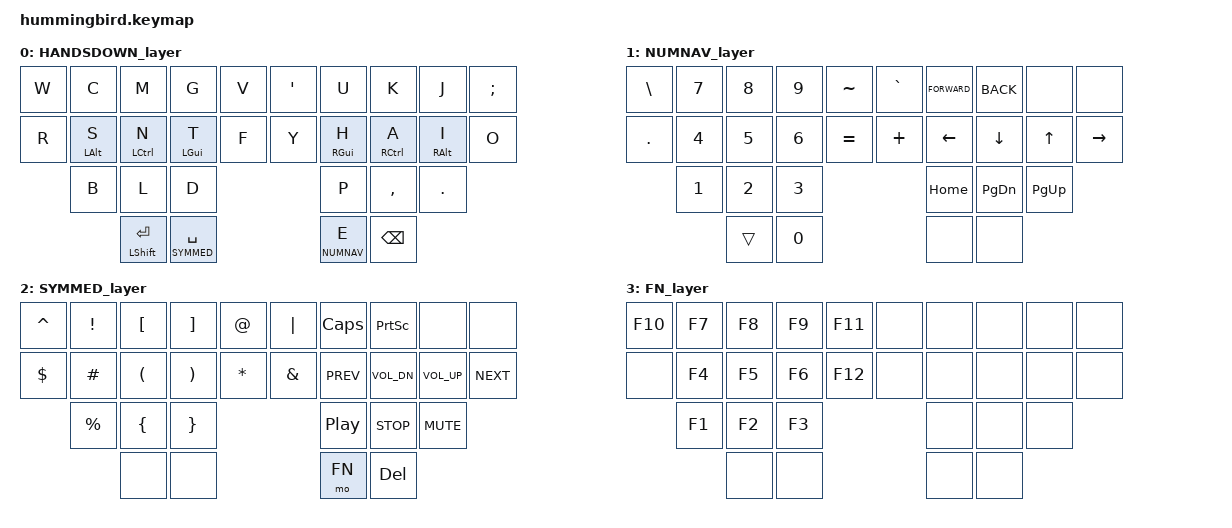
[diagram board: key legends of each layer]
/*
 * Copyright (c) 2020 The ZMK Contributors
 *
 * SPDX-License-Identifier: MIT
 */

#include <behaviors.dtsi>
#include <dt-bindings/zmk/keys.h>

#define HANDSDOWN 0
#define NUMNAV 1
#define SYMMED 2
#define FN 3

/ {
    behaviors {
        hm: homerow_mods {
            compatible = "zmk,behavior-hold-tap";
            label = "homerow mods";
            #binding-cells = <2>;
            tapping_term_ms = <150>;
            flavor = "tap-preferred";
            bindings = <&kp>, <&kp>;
        };
    };
};

/ {
    keymap {
        compatible = "zmk,keymap";

        HANDSDOWN_layer {
            bindings = <
                &kp W &kp C      &kp M           &kp G          &kp V      &kp SQT &kp U        &kp K       &kp J      &kp SEMI
                &kp R &hm LALT S &hm LCTRL N     &hm LGUI T     &kp F      &kp Y   &hm RGUI H   &hm RCTRL A &hm RALT I &kp O
                      &kp B      &kp L           &kp D                             &kp P        &kp COMMA   &kp DOT
                                 &mt LSHFT ENTER &lt SYMMED SPC                    &lt NUMNAV E &kp BKSP
            >;
        };

        NUMNAV_layer {
            bindings = <
                &kp BSLH &kp N7 &kp N8 &kp N9 &kp TILDE      &kp GRAVE &kp K_FORWARD &kp K_BACK &none     &none
                &kp DOT  &kp N4 &kp N5 &kp N6 &kp EQUAL      &kp PLUS  &kp LEFT      &kp DOWN   &kp UP    &kp RIGHT
                         &kp N1 &kp N2 &kp N3                          &kp HOME      &kp PG_DN  &kp PG_UP
                                &trans &kp N0                          &none         &none
            >;
        };

        SYMMED_layer {
            bindings = <
                &kp CARET &kp EXCL  &kp LBKT &kp RBKT &kp AT        &kp PIPE &kp CAPS   &kp PSCRN    &none        &none
                &kp DLLR  &kp HASH  &kp LPAR &kp RPAR &kp STAR      &kp AMPS &kp C_PREV &kp C_VOL_DN &kp C_VOL_UP &kp C_NEXT
                          &kp PRCNT &kp LBRC &kp RBRC                        &kp C_PP   &kp C_STOP   &kp C_MUTE
                                    &none    &none                           &mo FN     &kp DEL
            >;
        };

        FN_layer {
            bindings = <
                &kp F10 &kp F7 &kp F8 &kp F9 &kp F11      &none &none &none &none &none
                &none   &kp F4 &kp F5 &kp F6 &kp F12      &none &none &none &none &none
                        &kp F1 &kp F2 &kp F3                    &none &none &none
                               &none  &none                     &none &none
            >;
        };
    };
};

/ {
    combos {
        compatible = "zmk,combos";
        combo_esc {
            timeout-ms = <100>;
            key-positions = <1 2>;
            bindings = <&kp ESC>;
            layers = <0>;
        };

        combo_tab {
            timeout-ms = <100>;
            key-positions = <2 3>;
            bindings = <&kp TAB>;
            layers = <0>;
        };

        combo_x {
            timeout-ms = <100>;
            key-positions = <20 21>;
            bindings = <&kp X>;
            layers = <0>;
        };

        combo_q {
            timeout-ms = <100>;
            key-positions = <6 7>;
            bindings = <&kp Q>;
            layers = <0>;
        };

        combo_z {
            timeout-ms = <100>;
            key-positions = <7 8>;
            bindings = <&kp Z>;
            layers = <0>;
        };

        combo_minus {
            timeout-ms = <100>;
            key-positions = <23 24>;
            bindings = <&kp MINUS>;
            layers = <0>;
        };

        combo_slash {
            timeout-ms = <100>;
            key-positions = <24 25>;
            bindings = <&kp SLASH>;
            layers = <0>;
        };

        combo_enter {
            timeout-ms = <100>;
            key-positions = <24 25>;
            bindings = <&kp END>;
            layers = <1>;
        };
    };
};
